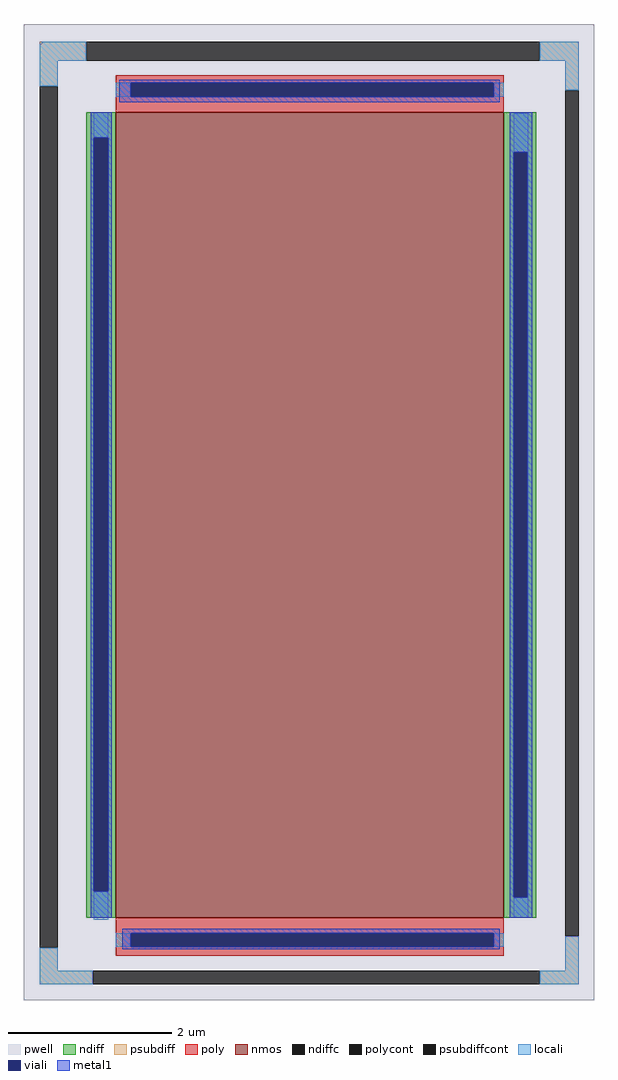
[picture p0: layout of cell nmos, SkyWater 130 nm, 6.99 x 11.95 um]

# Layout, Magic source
magic
tech sky130A
<< pwell >>
rect -1153 -49 -454 1146
<< nmos >>
rect -1040 52 -565 1038
<< ndiff >>
rect -1076 1007 -1040 1038
rect -1076 84 -1067 1007
rect -1049 84 -1040 1007
rect -1076 52 -1040 84
rect -565 989 -525 1038
rect -565 77 -553 989
rect -536 77 -525 989
rect -565 52 -525 77
<< ndiffc >>
rect -1067 84 -1049 1007
rect -553 77 -536 989
<< psubdiff >>
rect -1133 1101 -1076 1124
rect -521 1101 -473 1124
rect -1133 1070 -1111 1101
rect -490 1065 -473 1101
rect -1133 -13 -1111 15
rect -490 -13 -473 29
rect -1133 -30 -1068 -13
rect -521 -30 -473 -13
<< psubdiffcont >>
rect -1076 1101 -521 1124
rect -1133 15 -1111 1070
rect -490 29 -473 1065
rect -1068 -30 -521 -13
<< poly >>
rect -1040 1074 -565 1083
rect -1040 1057 -1022 1074
rect -577 1057 -565 1074
rect -1040 1038 -565 1057
rect -1040 33 -565 52
rect -1040 16 -1022 33
rect -577 16 -565 33
rect -1040 5 -565 16
<< polycont >>
rect -1022 1057 -577 1074
rect -1022 16 -577 33
<< locali >>
rect -1131 1122 -1076 1124
rect -1133 1101 -1076 1122
rect -521 1101 -473 1124
rect -1133 1070 -1111 1101
rect -1040 1057 -1022 1074
rect -577 1057 -565 1074
rect -490 1065 -473 1101
rect -1067 1007 -1049 1038
rect -1067 49 -1049 84
rect -553 989 -535 1037
rect -536 77 -535 989
rect -553 52 -535 77
rect -1040 16 -1022 33
rect -577 16 -565 33
rect -1133 -13 -1111 15
rect -490 -13 -473 29
rect -1133 -30 -1068 -13
rect -521 -30 -473 -13
<< viali >>
rect -1022 1057 -577 1074
rect -1067 84 -1049 1007
rect -553 77 -536 989
rect -1022 16 -577 33
<< metal1 >>
rect -1036 1074 -570 1078
rect -1036 1057 -1022 1074
rect -577 1057 -570 1074
rect -1036 1050 -570 1057
rect -1071 1007 -1045 1038
rect -1071 84 -1067 1007
rect -1049 84 -1045 1007
rect -1071 52 -1045 84
rect -558 989 -530 1038
rect -558 77 -553 989
rect -536 77 -530 989
rect -558 52 -530 77
rect -1032 33 -570 38
rect -1032 16 -1022 33
rect -577 16 -570 33
rect -1032 13 -570 16
<< end >>
